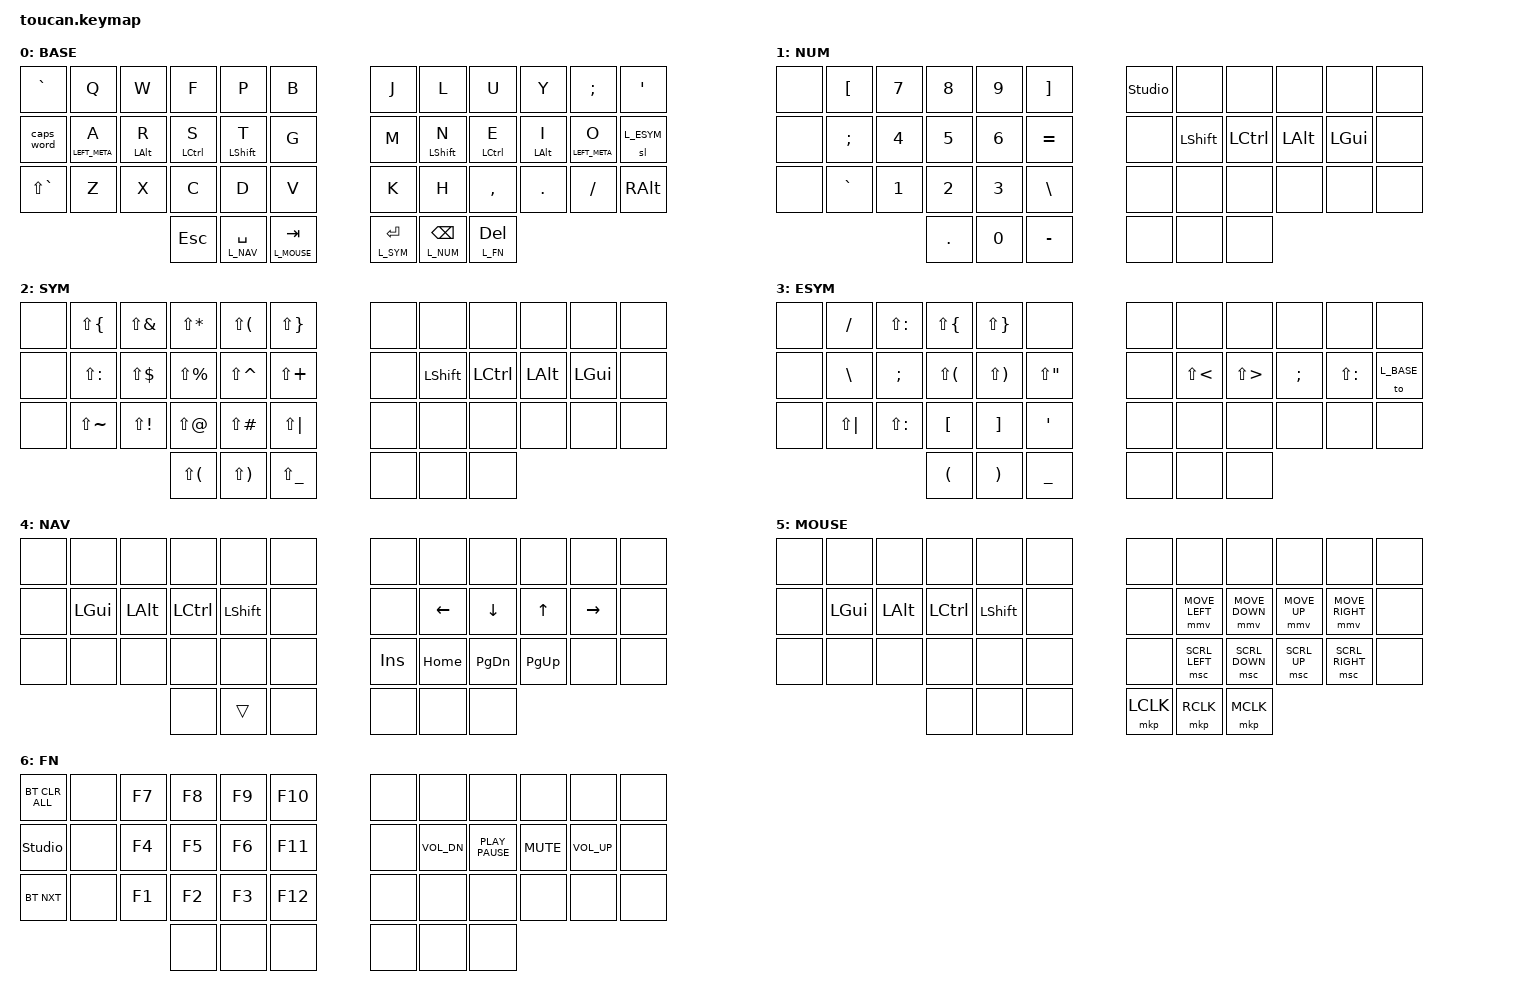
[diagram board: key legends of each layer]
/*
 * Toucan keymap: Colemak-DH
 *
 * Written with urob/zmk-helpers (https://github.com/urob/zmk-helpers).
 * The layer diagram in keymap-drawer/ is regenerated by GitHub Actions on every push.
 *
 * Key positions (42 keys, see zmk-helpers/key-labels/42.h):
 *
 *   LT5 LT4 LT3 LT2 LT1 LT0 │ RT0 RT1 RT2 RT3 RT4 RT5
 *   LM5 LM4 LM3 LM2 LM1 LM0 │ RM0 RM1 RM2 RM3 RM4 RM5
 *   LB5 LB4 LB3 LB2 LB1 LB0 │ RB0 RB1 RB2 RB3 RB4 RB5
 *               LH2 LH1 LH0 │ RH0 RH1 RH2
 */

#include <behaviors.dtsi>
#include <dt-bindings/zmk/bt.h>
#include <dt-bindings/zmk/keys.h>
#include <dt-bindings/zmk/pointing.h>

#include "zmk-helpers/helper.h"
#include "zmk-helpers/key-labels/42.h"

/* Layer indices (L_ prefix so they do not clash with the layer names). Must match the order of the ZMK_LAYER declarations below. */
#define L_BASE  0
#define L_NUM   1
#define L_SYM   2
#define L_ESYM  3
#define L_NAV   4
#define L_MOUSE 5
#define L_FN    6

/* ------------------------------------------------------------------------ */
/* Behavior tweaks                                                          */
/* ------------------------------------------------------------------------ */

&mt { flavor = "balanced"; };
&lt { flavor = "balanced"; };

/* ------------------------------------------------------------------------ */
/* Combos                                                                   */
/* ------------------------------------------------------------------------ */

/* Example (uncomment to use): press W+F together for Escape, on the base layer only.
 * ZMK_COMBO(combo_esc, &kp ESC, LT3 LT2, L_BASE)
 */

/* ------------------------------------------------------------------------ */
/* Layers                                                                   */
/* ------------------------------------------------------------------------ */

ZMK_LAYER(BASE,
//╭─────────────┬───────────────┬───────────────┬───────────────┬────────────────┬─────────────╮ ╭─────────────┬────────────────┬───────────────┬───────────────┬───────────────┬──────────────────╮
    &kp GRAVE     &kp Q           &kp W           &kp F           &kp P            &kp B             &kp J         &kp L            &kp U           &kp Y           &kp SEMICOLON   &kp SINGLE_QUOTE
//├─────────────┼───────────────┼───────────────┼───────────────┼────────────────┼─────────────┤ ├─────────────┼────────────────┼───────────────┼───────────────┼───────────────┼──────────────────┤
    &caps_word    &mt LEFT_META A &mt LEFT_ALT R  &mt LCTRL S     &mt LEFT_SHIFT T &kp G             &kp M         &mt LEFT_SHIFT N &mt LCTRL E     &mt LEFT_ALT I  &mt LEFT_META O &sl L_ESYM  
//├─────────────┼───────────────┼───────────────┼───────────────┼────────────────┼─────────────┤ ├─────────────┼────────────────┼───────────────┼───────────────┼───────────────┼──────────────────┤
    &kp LS(GRAVE) &kp Z           &kp X           &kp C           &kp D            &kp V             &kp K         &kp H            &kp COMMA       &kp DOT         &kp FSLH        &kp RIGHT_ALT
//╰─────────────┴───────────────┴───────────────┼───────────────┼────────────────┼─────────────┤ ├─────────────┼────────────────┼───────────────┼───────────────┴───────────────┴──────────────────╯
                                                  &kp ESCAPE      &lt L_NAV SPACE  &lt L_MOUSE TAB   &lt L_SYM RET &lt L_NUM BSPC    &lt L_FN DEL
//                                              ╰───────────────┴────────────────┴─────────────╯ ╰─────────────┴────────────────┴───────────────╯
)

ZMK_LAYER(NUM,
//╭─────────────┬───────────────┬───────────────┬───────────────┬────────────────┬─────────────╮ ╭─────────────┬────────────────┬───────────────┬───────────────┬───────────────┬──────────────────╮
    &none         &kp LBKT        &kp N7          &kp N8          &kp N9           &kp RBKT          &studio_unlock &none          &none           &none           &none           &none
//├─────────────┼───────────────┼───────────────┼───────────────┼────────────────┼─────────────┤ ├─────────────┼────────────────┼───────────────┼───────────────┼───────────────┼──────────────────┤
    &none         &kp SEMI        &kp N4          &kp N5          &kp N6           &kp EQUAL         &none         &kp LSHFT        &kp LCTRL       &kp LALT        &kp LGUI        &none
//├─────────────┼───────────────┼───────────────┼───────────────┼────────────────┼─────────────┤ ├─────────────┼────────────────┼───────────────┼───────────────┼───────────────┼──────────────────┤
    &none         &kp GRAVE       &kp N1          &kp N2          &kp N3           &kp BSLH          &none         &none            &none           &none           &none           &none
//╰─────────────┴───────────────┴───────────────┼───────────────┼────────────────┼─────────────┤ ├─────────────┼────────────────┼───────────────┼───────────────┴───────────────┴──────────────────╯
                                                  &kp DOT         &kp N0           &kp MINUS         &none         &none            &none
//                                              ╰───────────────┴────────────────┴─────────────╯ ╰─────────────┴────────────────┴───────────────╯
)

ZMK_LAYER(SYM,
//╭─────────────┬───────────────┬───────────────┬───────────────┬────────────────┬─────────────╮ ╭─────────────┬────────────────┬───────────────┬───────────────┬───────────────┬──────────────────╮
    &none         &kp LS(LBRC)    &kp LS(AMPS)    &kp LS(STAR)    &kp LS(LPAR)     &kp LS(RBRC)      &none         &none            &none           &none           &none           &none
//├─────────────┼───────────────┼───────────────┼───────────────┼────────────────┼─────────────┤ ├─────────────┼────────────────┼───────────────┼───────────────┼───────────────┼──────────────────┤
    &none         &kp LS(COLON)   &kp LS(DLLR)    &kp LS(PRCNT)   &kp LS(CARET)    &kp LS(PLUS)      &none         &kp LSHFT        &kp LCTRL       &kp LALT        &kp LGUI        &none
//├─────────────┼───────────────┼───────────────┼───────────────┼────────────────┼─────────────┤ ├─────────────┼────────────────┼───────────────┼───────────────┼───────────────┼──────────────────┤
    &none         &kp LS(TILDE)   &kp LS(EXCL)    &kp LS(AT)      &kp LS(POUND)    &kp LS(PIPE)      &none         &none            &none           &none           &none           &none
//╰─────────────┴───────────────┴───────────────┼───────────────┼────────────────┼─────────────┤ ├─────────────┼────────────────┼───────────────┼───────────────┴───────────────┴──────────────────╯
                                                  &kp LS(LPAR)    &kp LS(RPAR)     &kp LS(UNDER)     &none         &none            &none
//                                              ╰───────────────┴────────────────┴─────────────╯ ╰─────────────┴────────────────┴───────────────╯
)

ZMK_LAYER(ESYM,
//╭─────────────┬───────────────┬───────────────┬───────────────┬────────────────┬─────────────╮ ╭─────────────┬────────────────┬───────────────┬───────────────┬───────────────┬──────────────────╮
    &none         &kp FSLH        &kp LS(COLON)   &kp LS(LBRC)    &kp LS(RBRC)     &none             &none         &none            &none           &none           &none           &none
//├─────────────┼───────────────┼───────────────┼───────────────┼────────────────┼─────────────┤ ├─────────────┼────────────────┼───────────────┼───────────────┼───────────────┼──────────────────┤
    &none         &kp BSLH        &kp SEMI        &kp LS(LPAR)    &kp LS(RPAR)     &kp LS(DQT)       &none         &kp LS(LT)       &kp LS(GT)      &kp SEMI        &kp LS(COLON)   &to L_BASE
//├─────────────┼───────────────┼───────────────┼───────────────┼────────────────┼─────────────┤ ├─────────────┼────────────────┼───────────────┼───────────────┼───────────────┼──────────────────┤
    &none         &kp LS(PIPE)    &kp LS(COLON)   &kp LBKT        &kp RBKT         &kp SQT           &none         &none            &none           &none           &none           &none
//╰─────────────┴───────────────┴───────────────┼───────────────┼────────────────┼─────────────┤ ├─────────────┼────────────────┼───────────────┼───────────────┴───────────────┴──────────────────╯
                                                  &kp LPAR        &kp RPAR         &kp UNDER         &none         &none            &none
//                                              ╰───────────────┴────────────────┴─────────────╯ ╰─────────────┴────────────────┴───────────────╯
)

ZMK_LAYER(NAV,
//╭─────────────┬───────────────┬───────────────┬───────────────┬────────────────┬─────────────╮ ╭─────────────┬────────────────┬───────────────┬───────────────┬───────────────┬──────────────────╮
    &none         &none           &none           &none           &none            &none             &none         &none            &none           &none           &none           &none
//├─────────────┼───────────────┼───────────────┼───────────────┼────────────────┼─────────────┤ ├─────────────┼────────────────┼───────────────┼───────────────┼───────────────┼──────────────────┤
    &none         &kp LGUI        &kp LALT        &kp LCTRL       &kp LSHFT        &none             &none         &kp LEFT         &kp DOWN        &kp UP          &kp RIGHT       &none
//├─────────────┼───────────────┼───────────────┼───────────────┼────────────────┼─────────────┤ ├─────────────┼────────────────┼───────────────┼───────────────┼───────────────┼──────────────────┤
    &none         &none           &none           &none           &none            &none             &kp INS       &kp HOME         &kp PG_DN       &kp PG_UP       &none           &none
//╰─────────────┴───────────────┴───────────────┼───────────────┼────────────────┼─────────────┤ ├─────────────┼────────────────┼───────────────┼───────────────┴───────────────┴──────────────────╯
                                                  &none           &trans           &none             &none         &none            &none
//                                              ╰───────────────┴────────────────┴─────────────╯ ╰─────────────┴────────────────┴───────────────╯
)

ZMK_LAYER(MOUSE,
//╭─────────────┬───────────────┬───────────────┬───────────────┬────────────────┬─────────────╮ ╭─────────────┬────────────────┬───────────────┬───────────────┬───────────────┬──────────────────╮
    &none         &none           &none           &none           &none            &none             &none         &none            &none           &none           &none           &none
//├─────────────┼───────────────┼───────────────┼───────────────┼────────────────┼─────────────┤ ├─────────────┼────────────────┼───────────────┼───────────────┼───────────────┼──────────────────┤
    &none         &kp LGUI        &kp LALT        &kp LCTRL       &kp LSHFT        &none             &none         &mmv MOVE_LEFT   &mmv MOVE_DOWN  &mmv MOVE_UP    &mmv MOVE_RIGHT &none
//├─────────────┼───────────────┼───────────────┼───────────────┼────────────────┼─────────────┤ ├─────────────┼────────────────┼───────────────┼───────────────┼───────────────┼──────────────────┤
    &none         &none           &none           &none           &none            &none             &none         &msc SCRL_LEFT   &msc SCRL_DOWN  &msc SCRL_UP    &msc SCRL_RIGHT &none
//╰─────────────┴───────────────┴───────────────┼───────────────┼────────────────┼─────────────┤ ├─────────────┼────────────────┼───────────────┼───────────────┴───────────────┴──────────────────╯
                                                  &none           &none            &none             &mkp LCLK     &mkp RCLK        &mkp MCLK
//                                              ╰───────────────┴────────────────┴─────────────╯ ╰─────────────┴────────────────┴───────────────╯
)

ZMK_LAYER(FN,
//╭─────────────┬───────────────┬───────────────┬───────────────┬────────────────┬─────────────╮ ╭─────────────┬────────────────┬───────────────┬───────────────┬───────────────┬──────────────────╮
    &bt BT_CLR_ALL &none          &kp F7          &kp F8          &kp F9           &kp F10           &none         &none            &none           &none           &none           &none
//├─────────────┼───────────────┼───────────────┼───────────────┼────────────────┼─────────────┤ ├─────────────┼────────────────┼───────────────┼───────────────┼───────────────┼──────────────────┤
    &studio_unlock &none          &kp F4          &kp F5          &kp F6           &kp F11           &none         &kp C_VOL_DN     &kp K_PLAY_PAUSE &kp K_MUTE     &kp C_VOL_UP    &none
//├─────────────┼───────────────┼───────────────┼───────────────┼────────────────┼─────────────┤ ├─────────────┼────────────────┼───────────────┼───────────────┼───────────────┼──────────────────┤
    &bt BT_NXT    &none           &kp F1          &kp F2          &kp F3           &kp F12           &none         &none            &none           &none           &none           &none
//╰─────────────┴───────────────┴───────────────┼───────────────┼────────────────┼─────────────┤ ├─────────────┼────────────────┼───────────────┼───────────────┴───────────────┴──────────────────╯
                                                  &none           &none            &none             &none         &none            &none
//                                              ╰───────────────┴────────────────┴─────────────╯ ╰─────────────┴────────────────┴───────────────╯
)
